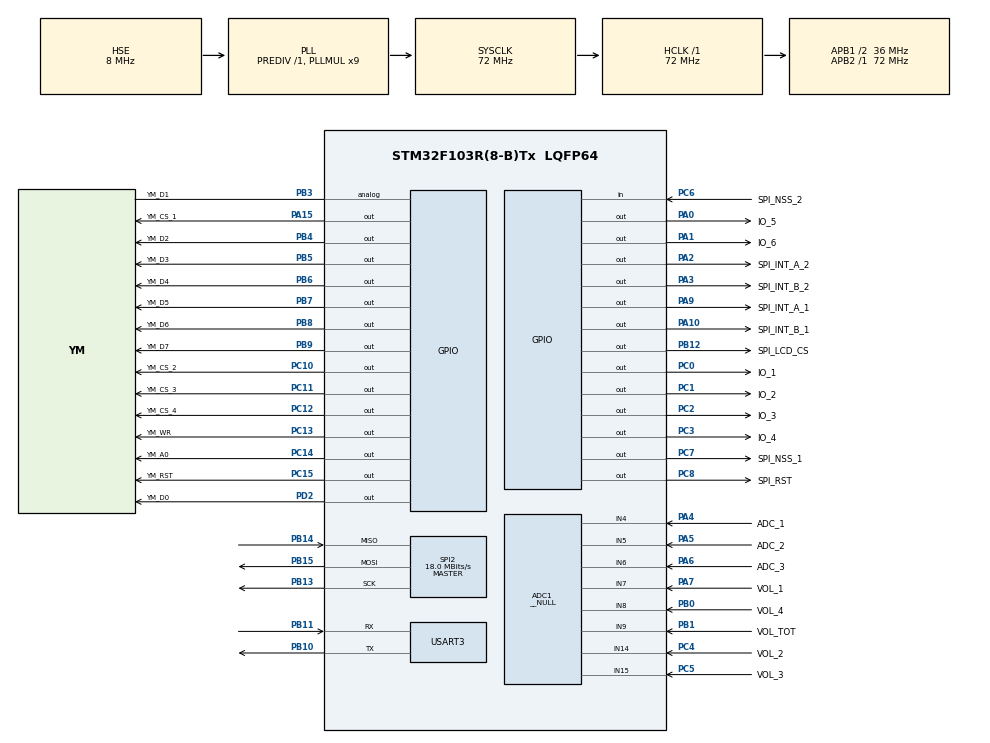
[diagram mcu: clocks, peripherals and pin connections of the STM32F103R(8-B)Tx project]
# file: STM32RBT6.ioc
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ADC1.Channel-2\#ChannelRegularConversion=ADC_CHANNEL_4
ADC1.Channel-4\#ChannelRegularConversion=ADC_CHANNEL_4
ADC1.Channel-IN4=ADC_CHANNEL_4
ADC1.Channel-IN5=ADC_CHANNEL_5
ADC1.Channel-IN6=ADC_CHANNEL_6
ADC1.Channel-IN7=ADC_CHANNEL_7
ADC1.Channel-IN8=ADC_CHANNEL_8
ADC1.Channel-IN9=ADC_CHANNEL_9
ADC1.ContinuousConvMode=DISABLE
ADC1.DataAlign=ADC_DATAALIGN_RIGHT
ADC1.DiscontinuousConvMode=DISABLE
ADC1.EnableAnalogWatchDog=false
ADC1.EnableInjectedConversion=DISABLE
ADC1.EnableRegularConversion=ENABLE
ADC1.ExternalTrigConv=ADC_SOFTWARE_START
ADC1.Mode=__NULL
ADC1.NbrOfConversion=1
ADC1.NbrOfConversionFlag=1
ADC1.Rank-2\#ChannelRegularConversion=1
ADC1.Rank-4\#ChannelRegularConversion=1
ADC1.SamplingTime-2\#ChannelRegularConversion=ADC_SAMPLETIME_1CYCLE_5
ADC1.SamplingTime-4\#ChannelRegularConversion=ADC_SAMPLETIME_1CYCLE_5
ADC1.ScanConvMode=ADC_SCAN_DISABLE
ADC1.master=1
Mcu.Family=STM32F1
Mcu.Name=STM32F103R(8-B)Tx
Mcu.Package=LQFP64
NVIC.PriorityGroup=NVIC_PRIORITYGROUP_2
PA0-WKUP.GPIO_Label=IO_5
PA0-WKUP.Signal=GPIO_Output
PA1.GPIO_Label=IO_6
PA1.Signal=GPIO_Output
PA10.GPIO_Label=SPI_INT_B_1
PA10.Signal=GPIO_Output
PA13.Signal=SYS_JTMS-SWDIO
PA14.Signal=SYS_JTCK-SWCLK
PA15.GPIO_Label=YM_CS_1
PA15.Signal=GPIO_Output
PA2.GPIO_Label=SPI_INT_A_2
PA2.Signal=GPIO_Output
PA3.GPIO_Label=SPI_INT_B_2
PA3.Signal=GPIO_Output
PA4.GPIO_Label=ADC_1
PA4.Signal=ADCx_IN4
PA5.GPIO_Label=ADC_2
PA5.Signal=ADCx_IN5
PA6.GPIO_Label=ADC_3
PA6.Signal=ADCx_IN6
PA7.GPIO_Label=VOL_1
PA7.Signal=ADCx_IN7
PA9.GPIO_Label=SPI_INT_A_1
PA9.Signal=GPIO_Output
PB0.GPIO_Label=VOL_4
PB0.Signal=ADCx_IN8
PB1.GPIO_Label=VOL_TOT
PB1.Signal=ADCx_IN9
PB10.Mode=Asynchronous
PB10.Signal=USART3_TX
PB11.Mode=Asynchronous
PB11.Signal=USART3_RX
PB12.GPIO_Label=SPI_LCD_CS
PB12.Signal=GPIO_Output
PB13.Mode=Full_Duplex_Master
PB13.Signal=SPI2_SCK
PB14.Mode=Full_Duplex_Master
PB14.Signal=SPI2_MISO
PB15.Mode=Full_Duplex_Master
PB15.Signal=SPI2_MOSI
PB3.GPIO_Label=YM_D1
PB3.Signal=GPIO_Analog
PB4.GPIO_Label=YM_D2
PB4.Signal=GPIO_Output
PB5.GPIO_Label=YM_D3
PB5.Signal=GPIO_Output
PB6.GPIO_Label=YM_D4
PB6.Signal=GPIO_Output
PB7.GPIO_Label=YM_D5
PB7.Signal=GPIO_Output
PB8.GPIO_Label=YM_D6
PB8.Signal=GPIO_Output
PB9.GPIO_Label=YM_D7
PB9.Signal=GPIO_Output
PC0.GPIO_Label=IO_1
PC0.Signal=GPIO_Output
PC1.GPIO_Label=IO_2
PC1.Signal=GPIO_Output
PC10.GPIO_Label=YM_CS_2
PC10.Signal=GPIO_Output
PC11.GPIO_Label=YM_CS_3
PC11.Signal=GPIO_Output
PC12.GPIO_Label=YM_CS_4
PC12.Signal=GPIO_Output
PC13-TAMPER-RTC.GPIO_Label=YM_WR
PC13-TAMPER-RTC.Signal=GPIO_Output
PC14-OSC32_IN.GPIO_Label=YM_A0
PC14-OSC32_IN.Signal=GPIO_Output
PC15-OSC32_OUT.GPIO_Label=YM_RST
PC15-OSC32_OUT.Signal=GPIO_Output
PC2.GPIO_Label=IO_3
PC2.Signal=GPIO_Output
PC3.GPIO_Label=IO_4
PC3.Signal=GPIO_Output
PC4.GPIO_Label=VOL_2
PC4.Signal=ADCx_IN14
PC5.GPIO_Label=VOL_3
PC5.Signal=ADCx_IN15
PC6.GPIO_Label=SPI_NSS_2
PC6.Signal=GPIO_Input
PC7.GPIO_Label=SPI_NSS_1
PC7.Signal=GPIO_Output
PC8.GPIO_Label=SPI_RST
PC8.Signal=GPIO_Output
PD0-OSC_IN.Mode=HSE-External-Oscillator
PD0-OSC_IN.Signal=RCC_OSC_IN
PD1-OSC_OUT.Mode=HSE-External-Oscillator
PD1-OSC_OUT.Signal=RCC_OSC_OUT
PD2.GPIO_Label=YM_D0
PD2.Signal=GPIO_Output
ProjectManager.HeapSize=0x200
ProjectManager.StackSize=0x400
ProjectManager.TargetToolchain=SW4STM32
RCC.ADCPresc=RCC_ADCPCLK2_DIV6
RCC.AHBFreq_Value=72000000
RCC.APB1CLKDivider=RCC_HCLK_DIV2
RCC.APB1Freq_Value=36000000
RCC.APB1TimFreq_Value=72000000
RCC.APB2Freq_Value=72000000
RCC.APB2TimFreq_Value=72000000
RCC.HCLKFreq_Value=72000000
RCC.PLLMUL=RCC_PLL_MUL9
RCC.PLLSourceVirtual=RCC_PLLSOURCE_HSE
RCC.SYSCLKFreq_VALUE=72000000
RCC.SYSCLKSource=RCC_SYSCLKSOURCE_PLLCLK
RCC.USBFreq_Value=72000000
SH.ADCx_IN14.0=ADC1_IN14,IN14
SH.ADCx_IN15.0=ADC1_IN15,IN15
SH.ADCx_IN4.0=ADC1_IN4,IN4
SH.ADCx_IN5.0=ADC1_IN5,IN5
SH.ADCx_IN6.0=ADC1_IN6,IN6
SH.ADCx_IN7.0=ADC1_IN7,IN7
SH.ADCx_IN8.0=ADC1_IN8,IN8
SH.ADCx_IN9.0=ADC1_IN9,IN9
SPI2.BaudRatePrescaler=SPI_BAUDRATEPRESCALER_2
SPI2.CLKPhase=SPI_PHASE_1EDGE
SPI2.CLKPolarity=SPI_POLARITY_LOW
SPI2.CRCCalculation=SPI_CRCCALCULATION_DISABLE
SPI2.CalculateBaudRate=18.0 MBits/s
SPI2.DataSize=SPI_DATASIZE_8BIT
SPI2.Direction=SPI_DIRECTION_2LINES
SPI2.FirstBit=SPI_FIRSTBIT_MSB
SPI2.Mode=SPI_MODE_MASTER
SPI2.NSS=SPI_NSS_SOFT
SPI2.TIMode=SPI_TIMODE_DISABLE
SPI2.VirtualType=VM_MASTER
USART3.VirtualMode=VM_ASYNC
VP_SYS_VS_ND.Mode=No_Debug
board=custom

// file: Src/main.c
/* USER CODE BEGIN Header */
/**
  ******************************************************************************
  * @file           : main.c
  * @brief          : Main program body
  ******************************************************************************
  * @attention
  *
  * <h2><center>&copy; Copyright (c) 2019 STMicroelectronics.
  * All rights reserved.</center></h2>
  *
  * This software component is licensed by ST under BSD 3-Clause license,
  * the "License"; You may not use this file except in compliance with the
  * License. You may obtain a copy of the License at:
  *                        opensource.org/licenses/BSD-3-Clause
  *
  ******************************************************************************
  */
/* USER CODE END Header */

#include "main.h"

/* USER CODE BEGIN Includes */
#include "includes.h"
/* USER CODE END Includes */

ADC_HandleTypeDef hadc1;

SPI_HandleTypeDef hspi2;

UART_HandleTypeDef huart3;

/* USER CODE BEGIN PV */
uint8_t ReceiveFlag = FALSE;
uint8_t data;

/* USER CODE END PV */

void SystemClock_Config(void);
static void MX_GPIO_Init(void);
static void MX_ADC1_Init(void);
static void MX_SPI2_Init(void);
static void MX_USART3_UART_Init(void);

int main(void)
{

  /* MCU Configuration--------------------------------------------------------*/

  /* Reset of all peripherals, Initializes the Flash interface and the Systick. */
  HAL_Init();

  /* Configure the system clock */
  SystemClock_Config();

  /* Initialize all configured peripherals */
  MX_GPIO_Init();
  MX_ADC1_Init();
  MX_SPI2_Init();
  MX_USART3_UART_Init();
  /* USER CODE BEGIN 2 */
    YM_RESET();  // reset the YM3812 chips
  	YM_SET_Def(); // set the default settings for the YM3812 chips
  	HAL_Delay(200);
  	HAL_UART_Receive_IT(&huart3, &data, 1); // enable the receive under interrupt mode for UART2
  	// Setting YM_CS pins
    HAL_GPIO_WritePin(GPIOC,YM_CS_2|YM_CS_3|YM_CS_4,GPIO_PIN_SET);
    HAL_GPIO_WritePin(GPIOA, YM_CS_1 ,GPIO_PIN_SET);

//    YM_PITCH(40,50);
//    YM_NOTE_ON(1);
  /* USER CODE END 2 */

  /* Infinite loop */
  /* USER CODE BEGIN WHILE */
  while (1)
  {
	  if(ReceiveFlag) // if the receiveflag is set, reset the flag and call the MIDI_PROC function
	  		{
	  			ReceiveFlag = FALSE;
	  			MIDI_PROC(data);
	  			HAL_GPIO_WritePin(GPIOC, IO_1, GPIO_PIN_SET);
	  		}
    /* USER CODE END WHILE */

  }
}

void SystemClock_Config(void)
{
  RCC_OscInitTypeDef RCC_OscInitStruct = {0};
  RCC_ClkInitTypeDef RCC_ClkInitStruct = {0};
  RCC_PeriphCLKInitTypeDef PeriphClkInit = {0};

  /** Initializes the CPU, AHB and APB busses clocks
  */
  RCC_OscInitStruct.OscillatorType = RCC_OSCILLATORTYPE_HSE;
  RCC_OscInitStruct.HSEState = RCC_HSE_ON;
  RCC_OscInitStruct.HSEPredivValue = RCC_HSE_PREDIV_DIV1;
  RCC_OscInitStruct.HSIState = RCC_HSI_ON;
  RCC_OscInitStruct.PLL.PLLState = RCC_PLL_ON;
  RCC_OscInitStruct.PLL.PLLSource = RCC_PLLSOURCE_HSE;
  RCC_OscInitStruct.PLL.PLLMUL = RCC_PLL_MUL9;
  if (HAL_RCC_OscConfig(&RCC_OscInitStruct) != HAL_OK)
  {
    Error_Handler();
  }
  /** Initializes the CPU, AHB and APB busses clocks
  */
  RCC_ClkInitStruct.ClockType = RCC_CLOCKTYPE_HCLK|RCC_CLOCKTYPE_SYSCLK
                              |RCC_CLOCKTYPE_PCLK1|RCC_CLOCKTYPE_PCLK2;
  RCC_ClkInitStruct.SYSCLKSource = RCC_SYSCLKSOURCE_PLLCLK;
  RCC_ClkInitStruct.AHBCLKDivider = RCC_SYSCLK_DIV1;
  RCC_ClkInitStruct.APB1CLKDivider = RCC_HCLK_DIV2;
  RCC_ClkInitStruct.APB2CLKDivider = RCC_HCLK_DIV1;

  if (HAL_RCC_ClockConfig(&RCC_ClkInitStruct, FLASH_LATENCY_2) != HAL_OK)
  {
    Error_Handler();
  }
  PeriphClkInit.PeriphClockSelection = RCC_PERIPHCLK_ADC;
  PeriphClkInit.AdcClockSelection = RCC_ADCPCLK2_DIV6;
  if (HAL_RCCEx_PeriphCLKConfig(&PeriphClkInit) != HAL_OK)
  {
    Error_Handler();
  }
}

static void MX_ADC1_Init(void)
{

  ADC_ChannelConfTypeDef sConfig = {0};

  /** Common config
  */
  hadc1.Instance = ADC1;
  hadc1.Init.ScanConvMode = ADC_SCAN_DISABLE;
  hadc1.Init.ContinuousConvMode = DISABLE;
  hadc1.Init.DiscontinuousConvMode = DISABLE;
  hadc1.Init.ExternalTrigConv = ADC_SOFTWARE_START;
  hadc1.Init.DataAlign = ADC_DATAALIGN_RIGHT;
  hadc1.Init.NbrOfConversion = 1;
  if (HAL_ADC_Init(&hadc1) != HAL_OK)
  {
    Error_Handler();
  }
  /** Configure Regular Channel
  */
  sConfig.Channel = ADC_CHANNEL_4;
  sConfig.Rank = ADC_REGULAR_RANK_1;
  sConfig.SamplingTime = ADC_SAMPLETIME_1CYCLE_5;
  if (HAL_ADC_ConfigChannel(&hadc1, &sConfig) != HAL_OK)
  {
    Error_Handler();
  }
  /** Configure Regular Channel
  */
  if (HAL_ADC_ConfigChannel(&hadc1, &sConfig) != HAL_OK)
  {
    Error_Handler();
  }

}

static void MX_SPI2_Init(void)
{

  /* SPI2 parameter configuration*/
  hspi2.Instance = SPI2;
  hspi2.Init.Mode = SPI_MODE_MASTER;
  hspi2.Init.Direction = SPI_DIRECTION_2LINES;
  hspi2.Init.DataSize = SPI_DATASIZE_8BIT;
  hspi2.Init.CLKPolarity = SPI_POLARITY_LOW;
  hspi2.Init.CLKPhase = SPI_PHASE_1EDGE;
  hspi2.Init.NSS = SPI_NSS_SOFT;
  hspi2.Init.BaudRatePrescaler = SPI_BAUDRATEPRESCALER_2;
  hspi2.Init.FirstBit = SPI_FIRSTBIT_MSB;
  hspi2.Init.TIMode = SPI_TIMODE_DISABLE;
  hspi2.Init.CRCCalculation = SPI_CRCCALCULATION_DISABLE;
  hspi2.Init.CRCPolynomial = 10;
  if (HAL_SPI_Init(&hspi2) != HAL_OK)
  {
    Error_Handler();
  }

}

static void MX_USART3_UART_Init(void)
{

  huart3.Instance = USART3;
  huart3.Init.BaudRate = 32500;
  huart3.Init.WordLength = UART_WORDLENGTH_8B;
  huart3.Init.StopBits = UART_STOPBITS_1;
  huart3.Init.Parity = UART_PARITY_NONE;
  huart3.Init.Mode = UART_MODE_TX_RX;
  huart3.Init.HwFlowCtl = UART_HWCONTROL_NONE;
  huart3.Init.OverSampling = UART_OVERSAMPLING_16;
  if (HAL_UART_Init(&huart3) != HAL_OK)
  {
    Error_Handler();
  }
  /* USER CODE BEGIN USART3_Init 2 */
  HAL_NVIC_SetPriority(USART3_IRQn, 0, 0);
  HAL_NVIC_EnableIRQ(USART3_IRQn);
  /* USER CODE END USART3_Init 2 */

}

static void MX_GPIO_Init(void)
{
  GPIO_InitTypeDef GPIO_InitStruct = {0};

  /* GPIO Ports Clock Enable */
  __HAL_RCC_GPIOC_CLK_ENABLE();
  __HAL_RCC_GPIOD_CLK_ENABLE();
  __HAL_RCC_GPIOA_CLK_ENABLE();
  __HAL_RCC_GPIOB_CLK_ENABLE();

  /*Configure GPIO pin Output Level */
  HAL_GPIO_WritePin(GPIOC, YM_WR|YM_A0|YM_RST|IO_1
                          |IO_2|IO_3|IO_4|SPI_NSS_1
                          |SPI_RST|YM_CS_2|YM_CS_3|YM_CS_4, GPIO_PIN_RESET);

  /*Configure GPIO pin Output Level */
  HAL_GPIO_WritePin(GPIOA, IO_5|IO_6|SPI_INT_A_2|SPI_INT_B_2
                          |SPI_INT_A_1|SPI_INT_B_1|YM_CS_1, GPIO_PIN_RESET);

  /*Configure GPIO pin Output Level */
  HAL_GPIO_WritePin(GPIOB, SPI_LCD_CS|YM_D2|YM_D3|YM_D4
                          |YM_D5|YM_D6|YM_D7, GPIO_PIN_RESET);

  /*Configure GPIO pin Output Level */
  HAL_GPIO_WritePin(YM_D0_GPIO_Port, YM_D0, GPIO_PIN_RESET);

  /*Configure GPIO pins : YM_WR_Pin YM_A0_Pin YM_RST_Pin IO_1_Pin
                           IO_2_Pin IO_3_Pin IO_4_Pin SPI_NSS_1_Pin
                           SPI_RST_Pin YM_CS_2_Pin YM_CS_3_Pin YM_CS_4_Pin */
  GPIO_InitStruct.Pin = YM_WR|YM_A0|YM_RST|IO_1
                          |IO_2|IO_3|IO_4|SPI_NSS_1|SPI_NSS_2
                          |SPI_RST|YM_CS_2|YM_CS_3|YM_CS_4;
  GPIO_InitStruct.Mode = GPIO_MODE_OUTPUT_PP;
  GPIO_InitStruct.Pull = GPIO_PULLUP;
  GPIO_InitStruct.Speed = GPIO_SPEED_FREQ_HIGH;
  HAL_GPIO_Init(GPIOC, &GPIO_InitStruct);

  /*Configure GPIO pins : IO_5_Pin IO_6_Pin SPI_INT_A_2_Pin SPI_INT_B_2_Pin
                           SPI_INT_A_1_Pin SPI_INT_B_1_Pin YM_CS_1_Pin */
  GPIO_InitStruct.Pin = IO_5|IO_6|SPI_INT_A_2|SPI_INT_B_2
                          |SPI_INT_A_1|SPI_INT_B_1|YM_CS_1;
  GPIO_InitStruct.Mode = GPIO_MODE_OUTPUT_PP;
  GPIO_InitStruct.Pull = GPIO_PULLUP;
  GPIO_InitStruct.Speed = GPIO_SPEED_FREQ_HIGH;
  HAL_GPIO_Init(GPIOA, &GPIO_InitStruct);

  /*Configure GPIO pins : SPI_LCD_CS_Pin YM_D2_Pin YM_D3_Pin YM_D4_Pin
                           YM_D5_Pin YM_D6_Pin YM_D7_Pin */
  GPIO_InitStruct.Pin = SPI_LCD_CS|YM_D1|YM_D2|YM_D3|YM_D4
                          |YM_D5|YM_D6|YM_D7;
  GPIO_InitStruct.Mode = GPIO_MODE_OUTPUT_PP;
  GPIO_InitStruct.Pull = GPIO_PULLUP;
  GPIO_InitStruct.Speed = GPIO_SPEED_FREQ_HIGH;
  HAL_GPIO_Init(GPIOB, &GPIO_InitStruct);

  /*Configure GPIO pin : YM_D0_Pin */
  GPIO_InitStruct.Pin = YM_D0;
  GPIO_InitStruct.Mode = GPIO_MODE_OUTPUT_PP;
  GPIO_InitStruct.Pull = GPIO_PULLUP;
  GPIO_InitStruct.Speed = GPIO_SPEED_FREQ_HIGH;
  HAL_GPIO_Init(YM_D0_GPIO_Port, &GPIO_InitStruct);

}

/* USER CODE BEGIN 4 */
void USART3_IRQHandler(void)
{
	HAL_UART_IRQHandler(&huart3); // calls the callback function
}

void HAL_UART_RxCpltCallback(UART_HandleTypeDef *huart)
{
	if (huart->Instance == USART3)
	{
		ReceiveFlag = TRUE;						// set the receiveflag
		HAL_UART_Receive_IT(&huart3, &data, 1); // enable receive under interrupt mode again
	}
}
/* USER CODE END 4 */

void Error_Handler(void)
{
}

/************************ (C) COPYRIGHT STMicroelectronics *****END OF FILE****/
